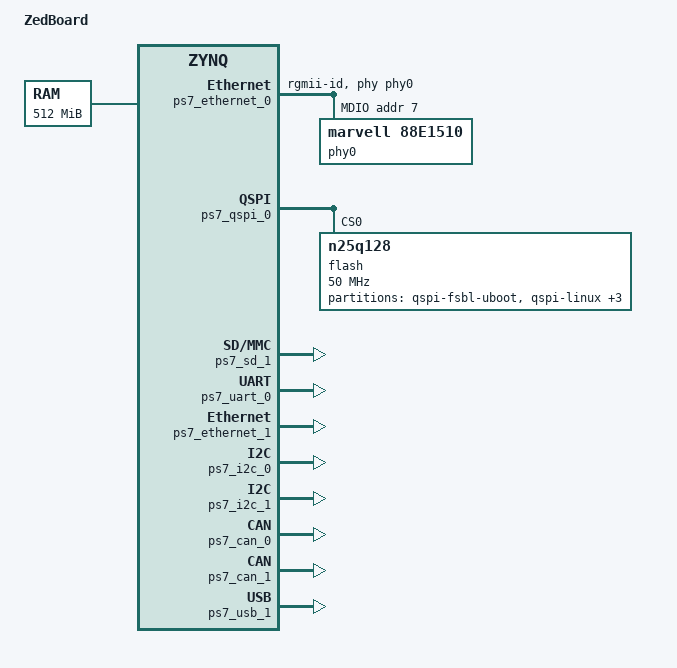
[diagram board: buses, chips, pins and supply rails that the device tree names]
/include/ "zynq-7-base.dtsi"
/ {
	model = "ZedBoard";
	chosen {
		bootargs = "console=ttyPS0,115200 earlyprintk";
		linux,stdout-path = "/axi@0/serial@e0001000";
	} ;
	ps7_ddr_0: memory@0 {
		device_type = "memory";
		reg = <0x0 0x20000000>;
	} ;
	ps7_axi_interconnect_0: amba@0 {
		ps7_ethernet_0: ps7-ethernet@e000b000 {
			phy-handle = <&phy0>;
			phy-mode = "rgmii-id";
			mdio {
				phy0: phy@7 {
					compatible = "marvell,88e1510";
					device_type = "ethernet-phy";
					reg = <7>;
				} ;
			} ;
		} ;
		ps7_qspi_0: ps7-qspi@e000d000 {
			flash@0 {
				compatible = "n25q128";
				reg = <0x0>;
				spi-max-frequency = <50000000>;
				#address-cells = <1>;
				#size-cells = <1>;
				partition@qspi-fsbl-uboot {
					label = "qspi-fsbl-uboot";
					reg = <0x0 0x100000>;
				};
				partition@qspi-linux {
					label = "qspi-linux";
					reg = <0x100000 0x500000>;
				};
				partition@qspi-device-tree {
					label = "qspi-device-tree";
					reg = <0x600000 0x20000>;
				};
				partition@qspi-rootfs {
					label = "qspi-rootfs";
					reg = <0x620000 0x5E0000>;
				};
				partition@qspi-bitstream {
					label = "qspi-bitstream";
					reg = <0xC00000 0x400000>;
				};
			};
		} ;
		ps7_gpio_0: ps7-gpio@e000a000 {
			gpio-mask-high = <0xc0000>;
			gpio-mask-low = <0xfe81>;
		} ;

		/* Disabled Devices */
		ps7_sd_1: ps7-sdio@e0101000 { compatible = "invalid"; };
		ps7_uart_0: serial@e0000000 { compatible = "invalid"; };
		ps7_ethernet_1: ps7-ethernet@e000c000 { compatible = "invalid"; };
		ps7_i2c_0: ps7-i2c@e0004000 { compatible = "invalid"; };
		ps7_i2c_1: ps7-i2c@e0005000 { compatible = "invalid"; };
		ps7_wdt_0: ps7-wdt@f8005000 { compatible = "invalid"; };
		ps7_can_0: ps7-can@e0008000 { compatible = "invalid"; };
		ps7_can_1: ps7-can@e0009000 { compatible = "invalid"; };
		ps7_usb_1: ps7-usb@e0003000 { compatible = "invalid"; };
	} ;
} ;
